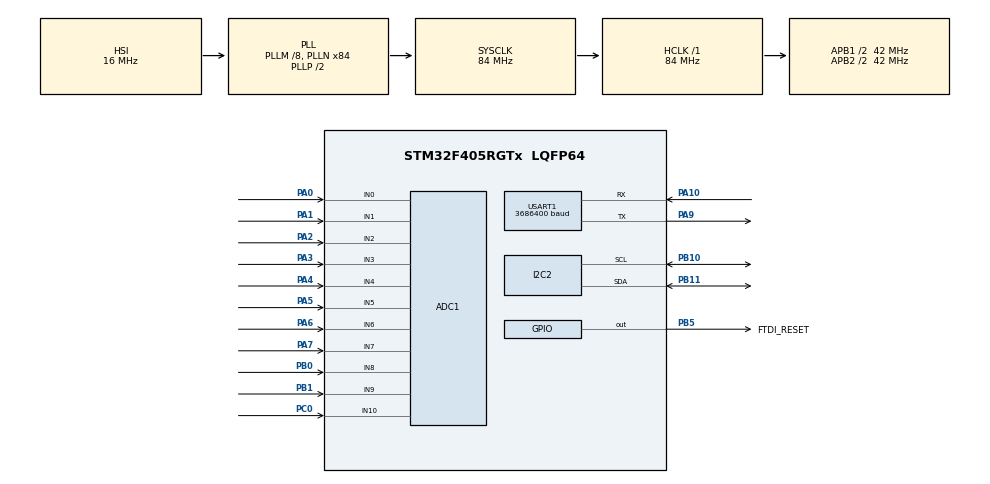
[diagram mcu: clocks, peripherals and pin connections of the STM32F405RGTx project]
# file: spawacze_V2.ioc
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ADC1.Channel-0\#ChannelRegularConversion=ADC_CHANNEL_0
ADC1.Channel-1\#ChannelRegularConversion=ADC_CHANNEL_1
ADC1.Channel-10\#ChannelRegularConversion=ADC_CHANNEL_10
ADC1.Channel-2\#ChannelRegularConversion=ADC_CHANNEL_2
ADC1.Channel-3\#ChannelRegularConversion=ADC_CHANNEL_3
ADC1.Channel-4\#ChannelRegularConversion=ADC_CHANNEL_4
ADC1.Channel-5\#ChannelRegularConversion=ADC_CHANNEL_5
ADC1.Channel-6\#ChannelRegularConversion=ADC_CHANNEL_6
ADC1.Channel-7\#ChannelRegularConversion=ADC_CHANNEL_7
ADC1.Channel-8\#ChannelRegularConversion=ADC_CHANNEL_8
ADC1.Channel-9\#ChannelRegularConversion=ADC_CHANNEL_9
ADC1.ClockPrescaler=ADC_CLOCK_SYNC_PCLK_DIV6
ADC1.ContinuousConvMode=ENABLE
ADC1.DMAContinuousRequests=ENABLE
ADC1.EOCSelection=ADC_EOC_SEQ_CONV
ADC1.ExternalTrigConv=ADC_SOFTWARE_START
ADC1.InjNumberOfConversion=0
ADC1.NbrOfConversion=11
ADC1.NbrOfConversionFlag=1
ADC1.Rank-0\#ChannelRegularConversion=1
ADC1.Rank-1\#ChannelRegularConversion=2
ADC1.Rank-10\#ChannelRegularConversion=11
ADC1.Rank-2\#ChannelRegularConversion=3
ADC1.Rank-3\#ChannelRegularConversion=4
ADC1.Rank-4\#ChannelRegularConversion=5
ADC1.Rank-5\#ChannelRegularConversion=6
ADC1.Rank-6\#ChannelRegularConversion=7
ADC1.Rank-7\#ChannelRegularConversion=8
ADC1.Rank-8\#ChannelRegularConversion=9
ADC1.Rank-9\#ChannelRegularConversion=10
ADC1.SamplingTime-0\#ChannelRegularConversion=ADC_SAMPLETIME_144CYCLES
ADC1.SamplingTime-1\#ChannelRegularConversion=ADC_SAMPLETIME_144CYCLES
ADC1.SamplingTime-10\#ChannelRegularConversion=ADC_SAMPLETIME_144CYCLES
ADC1.SamplingTime-2\#ChannelRegularConversion=ADC_SAMPLETIME_144CYCLES
ADC1.SamplingTime-3\#ChannelRegularConversion=ADC_SAMPLETIME_144CYCLES
ADC1.SamplingTime-4\#ChannelRegularConversion=ADC_SAMPLETIME_144CYCLES
ADC1.SamplingTime-5\#ChannelRegularConversion=ADC_SAMPLETIME_144CYCLES
ADC1.SamplingTime-6\#ChannelRegularConversion=ADC_SAMPLETIME_144CYCLES
ADC1.SamplingTime-7\#ChannelRegularConversion=ADC_SAMPLETIME_144CYCLES
ADC1.SamplingTime-8\#ChannelRegularConversion=ADC_SAMPLETIME_144CYCLES
ADC1.SamplingTime-9\#ChannelRegularConversion=ADC_SAMPLETIME_144CYCLES
ADC1.ScanConvMode=ENABLE
ADC1.master=1
Dma.ADC1.0.Direction=DMA_PERIPH_TO_MEMORY
Dma.ADC1.0.FIFOMode=DMA_FIFOMODE_DISABLE
Dma.ADC1.0.Instance=DMA2_Stream0
Dma.ADC1.0.MemDataAlignment=DMA_MDATAALIGN_HALFWORD
Dma.ADC1.0.MemInc=DMA_MINC_ENABLE
Dma.ADC1.0.Mode=DMA_CIRCULAR
Dma.ADC1.0.PeriphDataAlignment=DMA_PDATAALIGN_HALFWORD
Dma.ADC1.0.PeriphInc=DMA_PINC_DISABLE
Dma.ADC1.0.Priority=DMA_PRIORITY_LOW
Dma.I2C2_RX.1.Direction=DMA_PERIPH_TO_MEMORY
Dma.I2C2_RX.1.FIFOMode=DMA_FIFOMODE_DISABLE
Dma.I2C2_RX.1.Instance=DMA1_Stream2
Dma.I2C2_RX.1.MemDataAlignment=DMA_MDATAALIGN_BYTE
Dma.I2C2_RX.1.MemInc=DMA_MINC_ENABLE
Dma.I2C2_RX.1.Mode=DMA_NORMAL
Dma.I2C2_RX.1.PeriphDataAlignment=DMA_PDATAALIGN_BYTE
Dma.I2C2_RX.1.PeriphInc=DMA_PINC_DISABLE
Dma.I2C2_RX.1.Priority=DMA_PRIORITY_MEDIUM
Dma.I2C2_TX.2.Direction=DMA_MEMORY_TO_PERIPH
Dma.I2C2_TX.2.FIFOMode=DMA_FIFOMODE_DISABLE
Dma.I2C2_TX.2.Instance=DMA1_Stream7
Dma.I2C2_TX.2.MemDataAlignment=DMA_MDATAALIGN_BYTE
Dma.I2C2_TX.2.MemInc=DMA_MINC_ENABLE
Dma.I2C2_TX.2.Mode=DMA_NORMAL
Dma.I2C2_TX.2.PeriphDataAlignment=DMA_PDATAALIGN_BYTE
Dma.I2C2_TX.2.PeriphInc=DMA_PINC_DISABLE
Dma.I2C2_TX.2.Priority=DMA_PRIORITY_MEDIUM
Dma.Request0=ADC1
Dma.Request1=I2C2_RX
Dma.Request2=I2C2_TX
Dma.Request3=USART1_TX
Dma.USART1_TX.3.Direction=DMA_MEMORY_TO_PERIPH
Dma.USART1_TX.3.FIFOMode=DMA_FIFOMODE_DISABLE
Dma.USART1_TX.3.Instance=DMA2_Stream7
Dma.USART1_TX.3.MemDataAlignment=DMA_MDATAALIGN_BYTE
Dma.USART1_TX.3.MemInc=DMA_MINC_ENABLE
Dma.USART1_TX.3.Mode=DMA_NORMAL
Dma.USART1_TX.3.PeriphDataAlignment=DMA_PDATAALIGN_BYTE
Dma.USART1_TX.3.PeriphInc=DMA_PINC_DISABLE
Dma.USART1_TX.3.Priority=DMA_PRIORITY_VERY_HIGH
Mcu.Family=STM32F4
Mcu.Name=STM32F405RGTx
Mcu.Package=LQFP64
NVIC.ADC_IRQn=true\:0\:0\:false\:false\:true\:true\:true
NVIC.DMA1_Stream2_IRQn=true\:0\:0\:false\:false\:true\:false\:true
NVIC.DMA1_Stream7_IRQn=true\:0\:0\:false\:false\:true\:false\:true
NVIC.DMA2_Stream0_IRQn=true\:0\:0\:false\:false\:true\:false\:true
NVIC.DMA2_Stream7_IRQn=true\:0\:0\:false\:false\:true\:false\:true
NVIC.I2C2_EV_IRQn=true\:2\:0\:true\:false\:true\:true\:true
NVIC.PriorityGroup=NVIC_PRIORITYGROUP_4
NVIC.TIM2_IRQn=true\:0\:0\:false\:false\:true\:true\:true
NVIC.TIM8_TRG_COM_TIM14_IRQn=true\:0\:0\:false\:false\:true\:true\:true
NVIC.USART1_IRQn=true\:3\:0\:true\:false\:true\:true\:true
PA0-WKUP.Signal=ADCx_IN0
PA1.Signal=ADCx_IN1
PA10.Mode=Asynchronous
PA10.Signal=USART1_RX
PA13.Mode=Serial_Wire
PA13.Signal=SYS_JTMS-SWDIO
PA14.Mode=Serial_Wire
PA14.Signal=SYS_JTCK-SWCLK
PA2.Signal=ADCx_IN2
PA3.Signal=ADCx_IN3
PA4.Signal=ADCx_IN4
PA5.Signal=ADCx_IN5
PA6.Signal=ADCx_IN6
PA7.Signal=ADCx_IN7
PA9.Mode=Asynchronous
PA9.Signal=USART1_TX
PB0.Signal=ADCx_IN8
PB1.Signal=ADCx_IN9
PB10.GPIO_Pu=GPIO_NOPULL
PB10.GPIO_Speed=GPIO_SPEED_FREQ_LOW
PB10.Mode=I2C
PB10.Signal=I2C2_SCL
PB11.GPIO_Pu=GPIO_NOPULL
PB11.GPIO_Speed=GPIO_SPEED_FREQ_LOW
PB11.Mode=I2C
PB11.Signal=I2C2_SDA
PB5.GPIO_Label=FTDI_RESET
PB5.PinState=GPIO_PIN_SET
PB5.Signal=GPIO_Output
PC0.Signal=ADCx_IN10
PH0-OSC_IN.Mode=HSE-External-Clock-Source
PH0-OSC_IN.Signal=RCC_OSC_IN
PH1-OSC_OUT.Mode=HSE-External-Clock-Source
PH1-OSC_OUT.Signal=RCC_OSC_OUT
ProjectManager.HeapSize=0x200
ProjectManager.StackSize=0x400
ProjectManager.TargetToolchain=STM32CubeIDE
RCC.48MHZClocksFreq_Value=42000000
RCC.AHBFreq_Value=84000000
RCC.APB1CLKDivider=RCC_HCLK_DIV2
RCC.APB1Freq_Value=42000000
RCC.APB1TimFreq_Value=84000000
RCC.APB2CLKDivider=RCC_HCLK_DIV2
RCC.APB2Freq_Value=42000000
RCC.APB2TimFreq_Value=84000000
RCC.CortexFreq_Value=84000000
RCC.HCLKFreq_Value=84000000
RCC.HSE_VALUE=16800000
RCC.HSI_VALUE=16000000
RCC.LSE_VALUE=32768
RCC.PLLM=8
RCC.PLLN=84
RCC.SYSCLKFreq_VALUE=84000000
RCC.SYSCLKSource=RCC_SYSCLKSOURCE_PLLCLK
RCC.VCOOutputFreq_Value=168000000
SH.ADCx_IN0.0=ADC1_IN0,IN0
SH.ADCx_IN1.0=ADC1_IN1,IN1
SH.ADCx_IN10.0=ADC1_IN10,IN10
SH.ADCx_IN2.0=ADC1_IN2,IN2
SH.ADCx_IN3.0=ADC1_IN3,IN3
SH.ADCx_IN4.0=ADC1_IN4,IN4
SH.ADCx_IN5.0=ADC1_IN5,IN5
SH.ADCx_IN6.0=ADC1_IN6,IN6
SH.ADCx_IN7.0=ADC1_IN7,IN7
SH.ADCx_IN8.0=ADC1_IN8,IN8
SH.ADCx_IN9.0=ADC1_IN9,IN9
TIM14.AutoReloadPreload=TIM_AUTORELOAD_PRELOAD_ENABLE
TIM14.Period=9999
TIM14.Prescaler=8399
TIM2.Period=499
TIM2.Prescaler=83
TIM2.TIM_MasterOutputTrigger=TIM_TRGO_UPDATE
USART1.BaudRate=3686400
USART1.OverSampling=UART_OVERSAMPLING_8
USART1.VirtualMode=VM_ASYNC
VP_TIM14_VS_ClockSourceINT.Mode=Enable_Timer
VP_TIM2_VS_ClockSourceINT.Mode=Internal
board=custom

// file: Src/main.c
/* USER CODE BEGIN Header */
/**
  ******************************************************************************
  * @file           : main.c
  * @brief          : Main program body
  ******************************************************************************
  * @attention
  *
  * <h2><center>&copy; Copyright (c) 2019 STMicroelectronics.
  * All rights reserved.</center></h2>
  *
  * This software component is licensed by ST under BSD 3-Clause license,
  * the "License"; You may not use this file except in compliance with the
  * License. You may obtain a copy of the License at:
  *                        opensource.org/licenses/BSD-3-Clause
  *
  ******************************************************************************
  */
/* USER CODE END Header */
#include "main.h"
#include "adc.h"
#include "dma.h"
#include "i2c.h"
#include "tim.h"
#include "usart.h"
#include "gpio.h"

/* USER CODE BEGIN Includes */
#include "MCP4661.h"
#include "UART_Parser.h"
#include "adc.h"
/* USER CODE END Includes */

void SystemClock_Config(void);

/* USER CODE BEGIN 0 */
//float adcValueFloat[13];
//uint8_t measureFlag = 0;
/* USER CODE END 0 */

int main(void)
{

  /* MCU Configuration--------------------------------------------------------*/

  /* Reset of all peripherals, Initializes the Flash interface and the Systick. */
  HAL_Init();

  /* Configure the system clock */
  SystemClock_Config();

  /* Initialize all configured peripherals */
  MX_GPIO_Init();
  MX_DMA_Init();
  MX_I2C2_Init();
  MX_ADC1_Init();
  MX_USART1_UART_Init();
  MX_TIM2_Init();
  MX_TIM14_Init();
  /* USER CODE BEGIN 2 */
 // HAL_GPIO_WritePin(FTDI_RESET_GPIO_Port,FTDI_RESET_Pin,GPIO_PIN_SET);
  HAL_TIM_Base_Start_IT(&htim2);
  HAL_TIM_Base_Start_IT(&htim14);
  HAL_ADC_Start_DMA(&hadc1,adcValue,ADC_CHANNELS_NUMBER);
//  HAL_UART_Start_DMA(&huart1, uartFrame, sizeof(uartFrame));
  HAL_UART_Receive_IT(&huart1, &receivedData, 1);

  /* USER CODE END 2 */

  /* Infinite loop */
  /* USER CODE BEGIN WHILE */
	MCP4661_SetWiper(256,0,0);
	MCP4661_SetWiper(256,0,1);
	MCP4661_SetWiper(256,1,0);
	MCP4661_SetWiper(256,1,1);
	MCP4661_SetWiper(256,2,0);
	MCP4661_SetWiper(256,2,1);
	MCP4661_SetWiper(256,3,0);
	MCP4661_SetWiper(256,3,1);
	MCP4661_SetWiper(256,4,0);
	MCP4661_SetWiper(256,4,1);
	MCP4661_SetWiper(256,5,0);
	MCP4661_SetWiper(256,5,1);

  while (1)
  {

    /* USER CODE END WHILE */

  }
}

void SystemClock_Config(void)
{
  RCC_OscInitTypeDef RCC_OscInitStruct = {0};
  RCC_ClkInitTypeDef RCC_ClkInitStruct = {0};

  /** Configure the main internal regulator output voltage
  */
  __HAL_RCC_PWR_CLK_ENABLE();
  __HAL_PWR_VOLTAGESCALING_CONFIG(PWR_REGULATOR_VOLTAGE_SCALE1);
  /** Initializes the RCC Oscillators according to the specified parameters
  * in the RCC_OscInitTypeDef structure.
  */
  RCC_OscInitStruct.OscillatorType = RCC_OSCILLATORTYPE_HSI;
  RCC_OscInitStruct.HSIState = RCC_HSI_ON;
  RCC_OscInitStruct.HSICalibrationValue = RCC_HSICALIBRATION_DEFAULT;
  RCC_OscInitStruct.PLL.PLLState = RCC_PLL_ON;
  RCC_OscInitStruct.PLL.PLLSource = RCC_PLLSOURCE_HSI;
  RCC_OscInitStruct.PLL.PLLM = 8;
  RCC_OscInitStruct.PLL.PLLN = 84;
  RCC_OscInitStruct.PLL.PLLP = RCC_PLLP_DIV2;
  RCC_OscInitStruct.PLL.PLLQ = 4;
  if (HAL_RCC_OscConfig(&RCC_OscInitStruct) != HAL_OK)
  {
    Error_Handler();
  }
  /** Initializes the CPU, AHB and APB buses clocks
  */
  RCC_ClkInitStruct.ClockType = RCC_CLOCKTYPE_HCLK|RCC_CLOCKTYPE_SYSCLK
                              |RCC_CLOCKTYPE_PCLK1|RCC_CLOCKTYPE_PCLK2;
  RCC_ClkInitStruct.SYSCLKSource = RCC_SYSCLKSOURCE_PLLCLK;
  RCC_ClkInitStruct.AHBCLKDivider = RCC_SYSCLK_DIV1;
  RCC_ClkInitStruct.APB1CLKDivider = RCC_HCLK_DIV2;
  RCC_ClkInitStruct.APB2CLKDivider = RCC_HCLK_DIV2;

  if (HAL_RCC_ClockConfig(&RCC_ClkInitStruct, FLASH_LATENCY_2) != HAL_OK)
  {
    Error_Handler();
  }
}

void Error_Handler(void)
{
}

/************************ (C) COPYRIGHT STMicroelectronics *****END OF FILE****/
